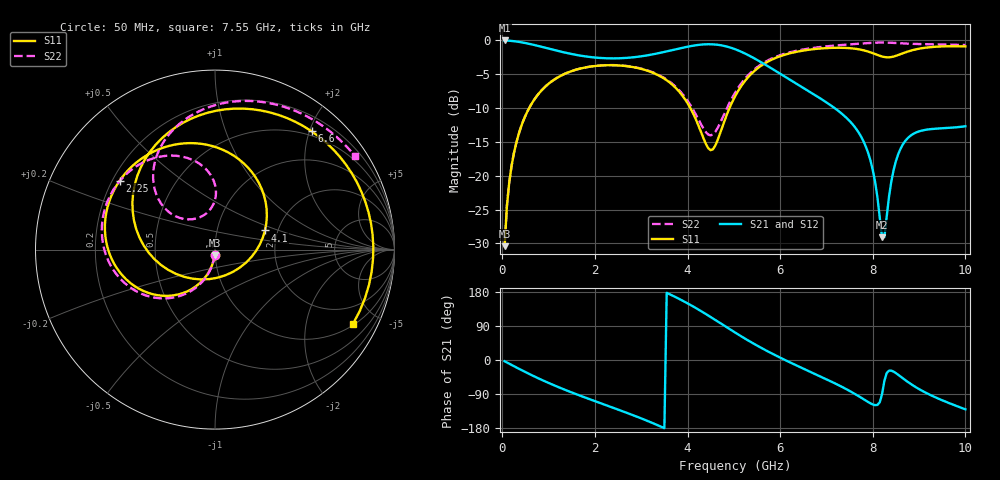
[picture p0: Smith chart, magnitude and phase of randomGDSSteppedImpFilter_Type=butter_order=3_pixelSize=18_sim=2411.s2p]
! freq	dB(S11)	phase(S11)	dB(S12)	phase(S12)
!  dB(S21)	phase(S21)	dB(S22)	phase(S22)
!S-par simulation data
#  GHz  S  DB  R 50
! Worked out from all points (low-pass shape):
!   200 points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, 50 MHz to 10 GHz, reference 50 ohm
!   highest |S21| = -0.01 dB at 50 MHz (marker M1); lowest = -29.1 dB at 8.2 GHz (marker M2)
!   |S21| within 3 dB of the highest: start of sweep to 5.535 GHz
!   lowest |S11| = -30.4 dB at 50 MHz (marker M3), VSWR 1.06, Z = 49.7 - j3 ohm
!   |S11| at or under -10 dB: start of sweep to 580.4 MHz; 4.061 GHz to 4.906 GHz (845.3 MHz wide, 18.9 % of centre)
!   |S22| runs from -30.4 to -0.3 dB; largest |S21 - S12| = 0
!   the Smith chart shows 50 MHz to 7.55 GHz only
!   S11 on the Smith chart (normalised r, x): 50 MHz: 0.99, -0.06; 2.25 GHz: 0.23, +0.31; 4.1 GHz: 1.71, +0.40; 6.6 GHz: 0.43, +2.04; 7.55 GHz: 1.04, -3.66
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0.05  -30.40 -93.8  -0.01 -3.3  -0.01 -3.3  -30.40 -93.6
0.2  -18.55 -104.0  -0.08 -13.1  -0.08 -13.1  -18.56 -103.2
0.5  -11.11 -123.4  -0.39 -31.9  -0.39 -31.9  -11.11 -121.5
1.75  -4.06 168.3  -2.32 -97.3  -2.32 -97.3  -4.05 176.1
2.25  -3.67 144.3  -2.64 -119.7  -2.64 -119.7  -3.66 155.5
3.4  -5.26 82.1  -1.85 -174.5  -1.85 -174.5  -5.19 109.7
4.1  -10.51 21.0  -0.80 142.7  -0.80 142.7  -9.99 89.0
4.5  -16.23 -67.6  -0.57 113.4  -0.57 113.4  -14.03 114.6
5.05  -7.97 176.4  -1.36 70.7  -1.36 70.7  -7.47 138.2
5.45  -4.48 136.5  -2.68 41.6  -2.68 41.6  -4.24 122.0
5.9  -2.60 100.4  -4.50 12.3  -4.50 12.3  -2.44 100.9
6.6  -1.40 50.7  -7.43 -28.3  -7.43 -28.3  -1.23 70.4
6.7  -1.31 43.6  -7.86 -34.0  -7.86 -34.0  -1.12 66.3
7.2  -1.09 5.4  -10.12 -62.7  -10.12 -62.7  -0.75 46.9
7.55  -1.18 -28.5  -12.28 -85.1  -12.28 -85.1  -0.56 34.0
7.95  -1.76 -87.3  -17.75 -114.3  -17.75 -114.3  -0.37 19.5
8.2  -2.38 -145.1  -29.08 -90.5  -29.08 -90.5  -0.31 10.3
8.35  -2.50 173.5  -23.12 -28.2  -23.12 -28.2  -0.34 4.8
8.55  -2.16 121.7  -16.80 -39.0  -16.80 -39.0  -0.41 -2.0
8.8  -1.56 73.5  -14.16 -61.5  -14.16 -61.5  -0.50 -9.9
9.3  -0.97 16.4  -13.08 -95.6  -13.08 -95.6  -0.58 -24.7
10  -0.89 -32.6  -12.68 -130.2  -12.68 -130.2  -0.69 -44.7
